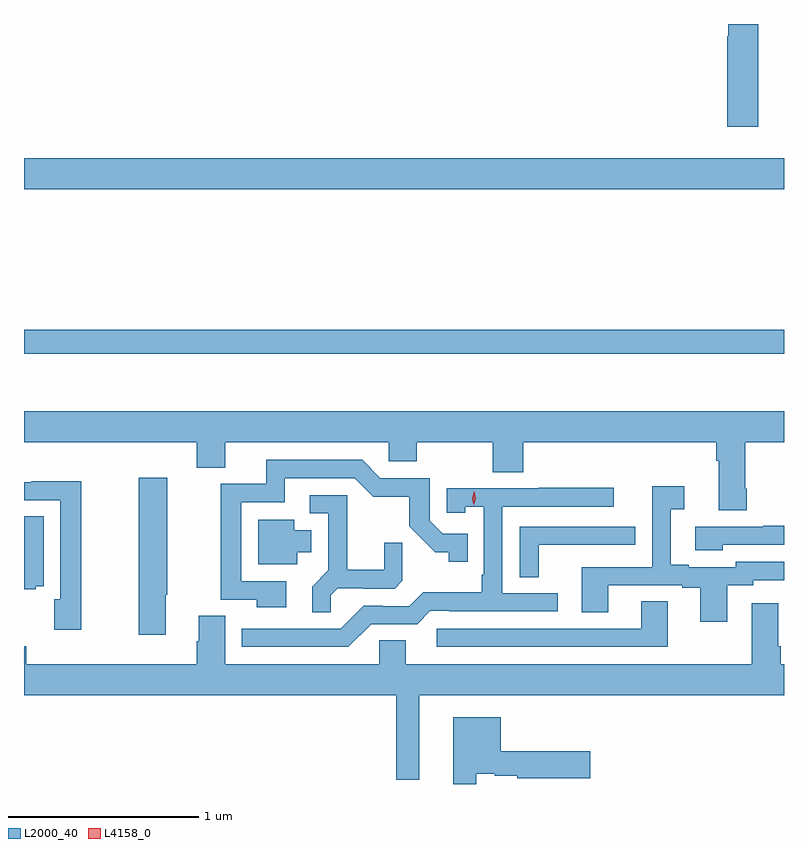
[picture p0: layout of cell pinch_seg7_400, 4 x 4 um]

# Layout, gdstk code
import gdstk
lib = gdstk.Library(unit=1e-6, precision=1e-09)
def R(c, l, rs):  # rectangles x0, y0, x1, y1
    for r in rs: c.add(gdstk.rectangle(r[:2], r[2:], *l))
def P(c, l, *ps):  # polygons
    for p in ps: c.add(gdstk.Polygon(p, *l))
L2000_40 = (2000, 40)
L4158_0 = (4158, 0)

pinch_seg7_400 = lib.new_cell('pinch_seg7_400')
R(pinch_seg7_400, L2000_40, [(539.487,1003.746,543.487,1003.874), (539.487,1004.612,543.487,1004.776)])
P(pinch_seg7_400, L2000_40, [(543.352,1005.482),(543.194,1005.482),(543.194,1005.417),(543.188,1005.417),(543.188,1004.94),(543.352,1004.94)],
  [(543.291,1003.036),(543.283,1003.036),(543.283,1003.28),(543.487,1003.28),(543.487,1003.444),(539.487,1003.444),(539.487,1003.28),(540.395,1003.28),(540.395,1003.147),(540.547,1003.147),(540.547,1003.28),(541.407,1003.28),(541.407,1003.182),(541.554,1003.182),(541.554,1003.28),(541.954,1003.28),(541.954,1003.123),(542.114,1003.123),(542.114,1003.28),(543.131,1003.28),(543.131,1003.184),(543.143,1003.184),(543.143,1002.924),(543.291,1002.924)],
  [(540.868,1002.549),(540.63,1002.549),(540.63,1002.966),(540.859,1002.966),(540.859,1003.092),(541.227,1003.092),(541.326,1002.994),(541.515,1002.994),(541.515,1002.838),(541.652,1002.701),(541.722,1002.701),(541.722,1002.651),(541.823,1002.651),(541.823,1002.798),(541.692,1002.798),(541.623,1002.867),(541.623,1003.092),(541.362,1003.092),(541.266,1003.188),(540.761,1003.188),(540.761,1003.062),(540.522,1003.062),(540.522,1002.453),(540.712,1002.453),(540.712,1002.413),(540.868,1002.413)],
  [(540.232,1002.479),(540.24,1002.479),(540.24,1003.093),(540.091,1003.093),(540.091,1002.267),(540.232,1002.267)],
  [(539.788,1003.075),(539.525,1003.075),(539.525,1003.071),(539.487,1003.071),(539.487,1002.975),(539.679,1002.975),(539.679,1002.455),(539.645,1002.455),(539.645,1002.294),(539.788,1002.294)],
  [(543.187,1002.528),(543.324,1002.528),(543.324,1002.555),(543.487,1002.555),(543.487,1002.651),(543.234,1002.651),(543.234,1002.624),(542.986,1002.624),(542.986,1002.637),(542.89,1002.637),(542.89,1002.928),(542.962,1002.928),(542.962,1003.048),(542.793,1003.048),(542.793,1002.624),(542.423,1002.624),(542.423,1002.385),(542.563,1002.385),(542.563,1002.528),(542.951,1002.528),(542.951,1002.516),(543.047,1002.516),(543.047,1002.336),(543.187,1002.336)],
  [(541.314,1002.324),(541.557,1002.324),(541.626,1002.393),(541.726,1002.393),(541.726,1002.39),(542.296,1002.39),(542.296,1002.486),(542.004,1002.486),(542.004,1002.942),(542.59,1002.942),(542.59,1003.041),(542.197,1003.041),(542.197,1003.038),(541.713,1003.038),(541.713,1002.909),(541.809,1002.909),(541.809,1002.941),(541.908,1002.941),(541.908,1002.583),(541.896,1002.583),(541.896,1002.49),(541.588,1002.49),(541.515,1002.417),(541.376,1002.417),(541.376,1002.42),(541.275,1002.42),(541.155,1002.3),(540.632,1002.3),(540.632,1002.204),(541.194,1002.204)],
  [(541.101,1002.476),(541.138,1002.513),(541.272,1002.513),(541.272,1002.51),(541.437,1002.51),(541.478,1002.551),(541.478,1002.753),(541.384,1002.753),(541.384,1002.61),(541.187,1002.61),(541.187,1003.002),(540.99,1003.002),(540.99,1002.906),(541.089,1002.906),(541.089,1002.607),(541.003,1002.521),(541.003,1002.385),(541.101,1002.385)],
  [(539.55,1002.524),(539.59,1002.524),(539.59,1002.89),(539.487,1002.89),(539.487,1002.506),(539.55,1002.506)],
  [(540.925,1002.701),(541,1002.701),(541,1002.817),(540.91,1002.817),(540.91,1002.874),(540.719,1002.874),(540.719,1002.638),(540.925,1002.638)],
  [(543.165,1002.741),(543.487,1002.741),(543.487,1002.84),(543.379,1002.84),(543.379,1002.837),(543.021,1002.837),(543.021,1002.713),(543.165,1002.713)],
  [(542.196,1002.741),(542.591,1002.741),(542.591,1002.742),(542.704,1002.742),(542.704,1002.837),(542.097,1002.837),(542.097,1002.571),(542.196,1002.571)],
  [(542.875,1002.443),(542.735,1002.443),(542.735,1002.3),(541.659,1002.3),(541.659,1002.204),(542.875,1002.204)],
  [(541.567,1001.948),(543.487,1001.948),(543.487,1002.112),(543.47,1002.112),(543.47,1002.208),(543.457,1002.208),(543.457,1002.433),(543.317,1002.433),(543.317,1002.112),(541.495,1002.112),(541.495,1002.239),(541.356,1002.239),(541.356,1002.112),(540.547,1002.112),(540.547,1002.368),(540.407,1002.368),(540.407,1002.234),(540.395,1002.234),(540.395,1002.112),(539.498,1002.112),(539.498,1002.208),(539.487,1002.208),(539.487,1001.948),(541.446,1001.948),(541.446,1001.504),(541.567,1001.504)],
  [(541.867,1001.537),(541.964,1001.537),(541.964,1001.525),(542.082,1001.525),(542.082,1001.513),(542.467,1001.513),(542.467,1001.655),(541.996,1001.655),(541.996,1001.833),(541.745,1001.833),(541.745,1001.482),(541.867,1001.482)])
P(pinch_seg7_400, L4158_0, [(541.855,1002.95),(541.854,1002.951),(541.845,1002.987),(541.856,1003.023),(541.856,1003.023),(541.856,1003.023),(541.865,1002.986),(541.855,1002.951)])

lib.write_gds('pinch_seg7_400.gds')
